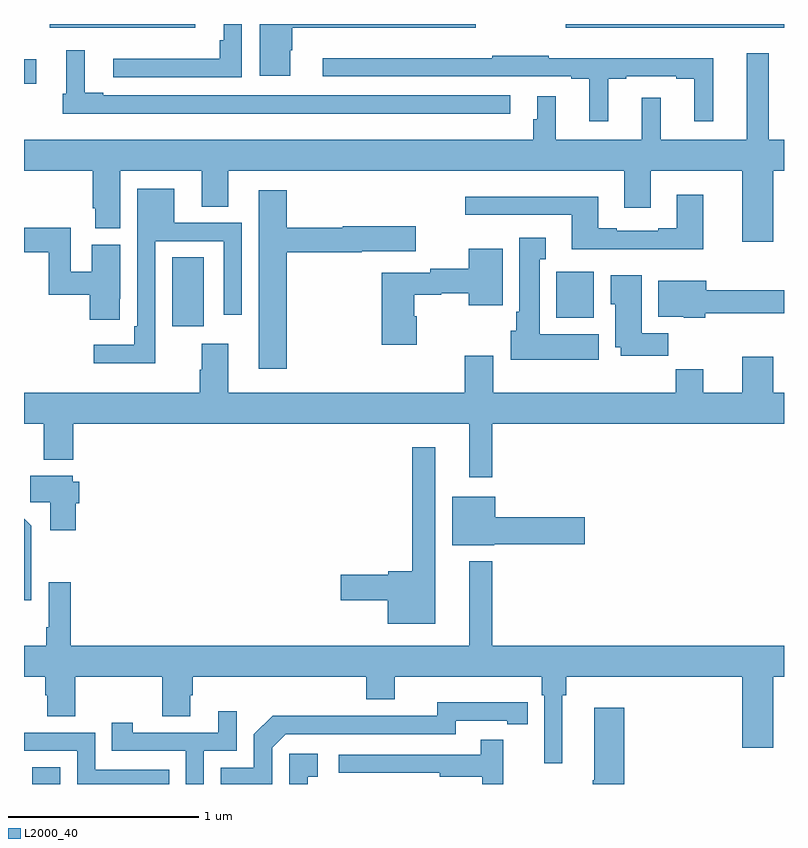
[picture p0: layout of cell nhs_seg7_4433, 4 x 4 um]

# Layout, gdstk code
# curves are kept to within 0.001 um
import gdstk
lib = gdstk.Library(unit=1e-6, precision=1e-09)
def R(c, l, rs):  # rectangles x0, y0, x1, y1
    for r in rs: c.add(gdstk.rectangle(r[:2], r[2:], *l))
def P(c, l, *ps):  # polygons
    for p in ps: c.add(gdstk.Polygon(p, *l))
L2000_40 = (2000, 40)

nhs_seg7_4433 = lib.new_cell('nhs_seg7_4433')
R(nhs_seg7_4433, L2000_40, [(389.043,1052,389.19,1052.089), (389.78,1054.41,389.947,1054.772), (391.802,1054.454,391.999,1054.696), (389,1055.686,389.065,1055.815), (389.135,1055.981,389.902,1056), (391.851,1055.981,393,1056)])
P(nhs_seg7_4433, L2000_40, [(390.4,1055.862),(390.413,1055.862),(390.413,1055.981),(391.378,1055.981),(391.378,1056),(390.242,1056),(390.242,1055.727),(390.4,1055.727)],
  [(390.147,1056),(390.05,1056),(390.05,1055.914),(390.031,1055.914),(390.031,1055.818),(389.469,1055.818),(389.469,1055.721),(390.147,1055.721)],
  [(391.558,1055.625),(389.416,1055.625),(389.416,1055.638),(389.32,1055.638),(389.32,1055.863),(389.222,1055.863),(389.222,1055.632),(389.203,1055.632),(389.203,1055.528),(391.558,1055.528)],
  [(392.944,1055.228),(393,1055.228),(393,1055.392),(392.921,1055.392),(392.921,1055.845),(392.804,1055.845),(392.804,1055.392),(392.351,1055.392),(392.351,1055.611),(392.252,1055.611),(392.252,1055.392),(391.799,1055.392),(391.799,1055.62),(391.7,1055.62),(391.7,1055.498),(391.681,1055.498),(391.681,1055.392),(389,1055.392),(389,1055.228),(389.363,1055.228),(389.363,1055.029),(389.375,1055.029),(389.375,1054.924),(389.506,1054.924),(389.506,1055.228),(389.936,1055.228),(389.936,1055.038),(390.076,1055.038),(390.076,1055.228),(392.159,1055.228),(392.159,1055.034),(392.299,1055.034),(392.299,1055.228),(392.78,1055.228),(392.78,1054.854),(392.944,1054.854)],
  [(392.075,1055.712),(392.17,1055.712),(392.17,1055.724),(392.432,1055.724),(392.432,1055.712),(392.528,1055.712),(392.528,1055.487),(392.627,1055.487),(392.627,1055.821),(391.763,1055.821),(391.763,1055.833),(391.465,1055.833),(391.465,1055.821),(390.573,1055.821),(390.573,1055.724),(391.88,1055.724),(391.88,1055.712),(391.976,1055.712),(391.976,1055.487),(392.075,1055.487)],
  [(389.691,1054.857),(390.051,1054.857),(390.051,1054.47),(390.147,1054.47),(390.147,1054.953),(389.791,1054.953),(389.791,1055.134),(389.595,1055.134),(389.595,1054.408),(389.579,1054.408),(389.579,1054.312),(389.367,1054.312),(389.367,1054.214),(389.691,1054.214)],
  [(390.383,1054.798),(390.778,1054.798),(390.778,1054.805),(391.063,1054.805),(391.063,1054.935),(390.678,1054.935),(390.678,1054.927),(390.383,1054.927),(390.383,1055.125),(390.236,1055.125),(390.236,1054.185),(390.383,1054.185)],
  [(392.575,1055.101),(392.435,1055.101),(392.435,1054.924),(392.339,1054.924),(392.339,1054.911),(392.119,1054.911),(392.119,1054.924),(392.023,1054.924),(392.023,1055.092),(391.323,1055.092),(391.323,1054.995),(391.883,1054.995),(391.883,1054.814),(392.575,1054.814)],
  [(389.505,1054.555),(389.506,1054.555),(389.506,1054.839),(389.357,1054.839),(389.357,1054.695),(389.247,1054.695),(389.247,1054.927),(389,1054.927),(389,1054.798),(389.131,1054.798),(389.131,1054.576),(389.345,1054.576),(389.345,1054.443),(389.505,1054.443)],
  [(392.026,1054.366),(391.714,1054.366),(391.714,1054.763),(391.747,1054.763),(391.747,1054.876),(391.607,1054.876),(391.607,1054.486),(391.592,1054.486),(391.592,1054.386),(391.562,1054.386),(391.562,1054.232),(392.026,1054.232)],
  [(391.067,1054.461),(391.054,1054.461),(391.054,1054.576),(391.197,1054.576),(391.197,1054.584),(391.34,1054.584),(391.34,1054.52),(391.519,1054.52),(391.519,1054.816),(391.34,1054.816),(391.34,1054.712),(391.137,1054.712),(391.137,1054.692),(390.884,1054.692),(390.884,1054.311),(391.067,1054.311)],
  [(392.39,1054.372),(392.251,1054.372),(392.251,1054.678),(392.087,1054.678),(392.087,1054.524),(392.111,1054.524),(392.111,1054.298),(392.141,1054.298),(392.141,1054.254),(392.39,1054.254)],
  [(392.586,1054.478),(393,1054.478),(393,1054.6),(392.59,1054.6),(392.59,1054.648),(392.339,1054.648),(392.339,1054.46),(392.472,1054.46),(392.472,1054.454),(392.586,1054.454)],
  [(391.465,1053.896),(393,1053.896),(393,1054.06),(392.944,1054.06),(392.944,1054.249),(392.78,1054.249),(392.78,1054.06),(392.575,1054.06),(392.575,1054.184),(392.431,1054.184),(392.431,1054.06),(391.471,1054.06),(391.471,1054.255),(391.319,1054.255),(391.319,1054.06),(390.076,1054.06),(390.076,1054.318),(389.936,1054.318),(389.936,1054.181),(389.924,1054.181),(389.924,1054.06),(389,1054.06),(389,1053.896),(389.105,1053.896),(389.105,1053.707),(389.258,1053.707),(389.258,1053.896),(391.343,1053.896),(391.343,1053.615),(391.465,1053.615)],
  [(391.165,1053.772),(391.044,1053.772),(391.044,1053.119),(390.918,1053.119),(390.918,1053.101),(390.666,1053.101),(390.666,1052.966),(390.914,1052.966),(390.914,1052.843),(391.165,1052.843)],
  [(389.273,1053.477),(389.291,1053.477),(389.291,1053.591),(389.256,1053.591),(389.256,1053.622),(389.033,1053.622),(389.033,1053.484),(389.138,1053.484),(389.138,1053.336),(389.273,1053.336)],
  [(391.476,1053.263),(391.951,1053.263),(391.951,1053.405),(391.48,1053.405),(391.48,1053.511),(391.253,1053.511),(391.253,1053.257),(391.476,1053.257)],
  [(389.038,1053.358),(389,1053.396),(389,1052.967),(389.038,1052.967)],
  [(391.834,1052.468),(391.853,1052.468),(391.853,1052.564),(392.78,1052.564),(392.78,1052.19),(392.944,1052.19),(392.944,1052.564),(393,1052.564),(393,1052.728),(391.465,1052.728),(391.465,1053.172),(391.343,1053.172),(391.343,1052.728),(389.246,1052.728),(389.246,1053.061),(389.13,1053.061),(389.13,1052.824),(389.118,1052.824),(389.118,1052.728),(389,1052.728),(389,1052.564),(389.111,1052.564),(389.111,1052.466),(389.123,1052.466),(389.123,1052.356),(389.271,1052.356),(389.271,1052.564),(389.728,1052.564),(389.728,1052.356),(389.875,1052.356),(389.875,1052.466),(389.888,1052.466),(389.888,1052.564),(390.8,1052.564),(390.8,1052.447),(390.952,1052.447),(390.952,1052.564),(391.724,1052.564),(391.724,1052.468),(391.737,1052.468),(391.737,1052.109),(391.834,1052.109)],
  [(390.306,1052.19),(390.378,1052.262),(391.272,1052.262),(391.272,1052.334),(391.544,1052.334),(391.544,1052.314),(391.652,1052.314),(391.652,1052.43),(391.176,1052.431),(391.176,1052.358),(390.716,1052.358),(390.716,1052.36),(390.308,1052.36),(390.21,1052.262),(390.21,1052.085),(390.036,1052.085),(390.036,1052),(390.306,1052)],
  [(392.159,1052.401),(392,1052.401),(392,1052.021),(391.993,1052.021),(391.993,1052),(392.159,1052)],
  [(389.946,1052.175),(390.12,1052.175),(390.12,1052.383),(390.023,1052.383),(390.023,1052.271),(389.572,1052.271),(389.572,1052.323),(389.461,1052.323),(389.461,1052.175),(389.85,1052.175),(389.85,1052),(389.946,1052)],
  [(389.765,1052.076),(389.376,1052.076),(389.376,1052.271),(389,1052.271),(389,1052.175),(389.28,1052.175),(389.28,1052),(389.765,1052)],
  [(391.523,1052.233),(391.405,1052.233),(391.405,1052.154),(390.657,1052.154),(390.657,1052.058),(391.189,1052.058),(391.189,1052.038),(391.413,1052.038),(391.413,1052),(391.523,1052)],
  [(390.494,1052.037),(390.547,1052.037),(390.547,1052.158),(390.396,1052.158),(390.396,1052),(390.494,1052)])

lib.write_gds('nhs_seg7_4433.gds')
